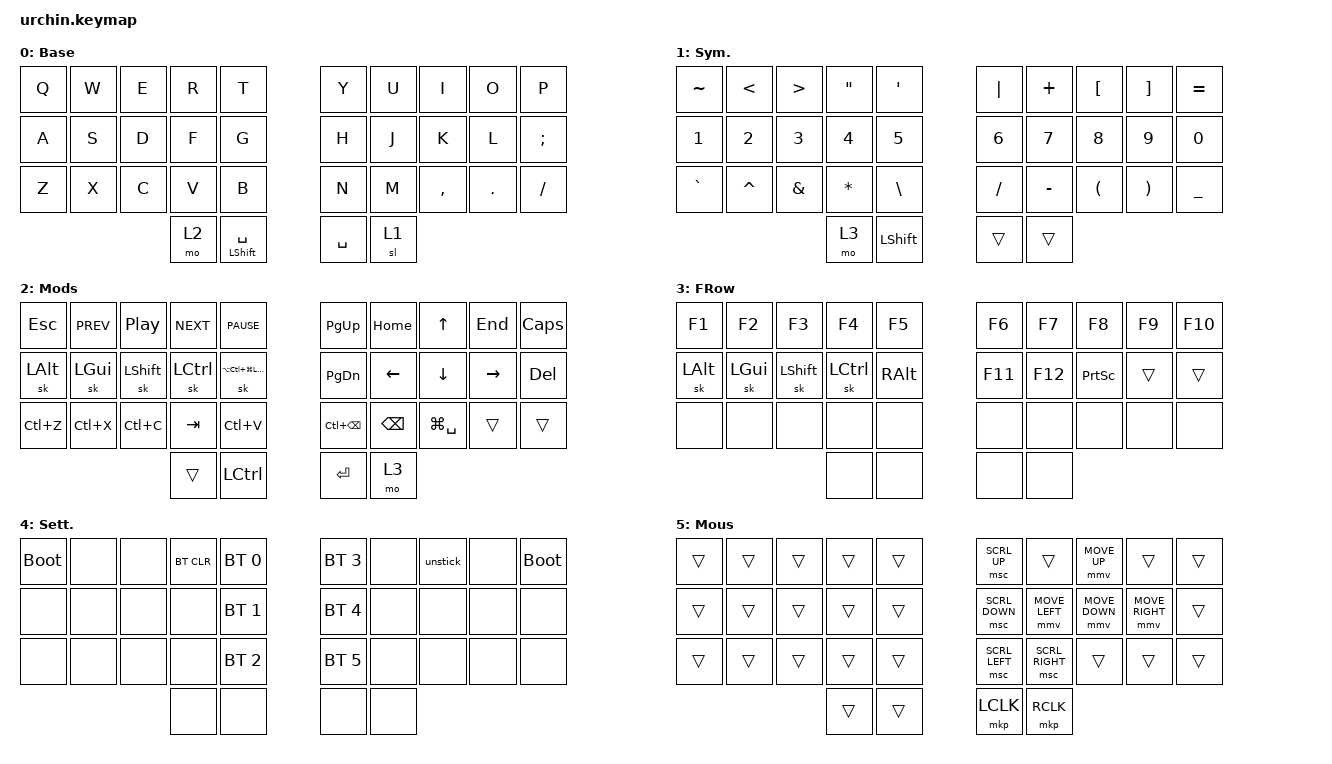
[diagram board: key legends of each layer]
/*
 * Copyright (c) 2020 duckyb
 *
 * SPDX-License-Identifier: MIT
 */

#include <behaviors.dtsi>
#include <dt-bindings/zmk/bt.h>
#include <dt-bindings/zmk/keys.h>
#include <dt-bindings/zmk/pointing.h>

// Layer definitions

#define BASE 0
#define SYM 1
#define EXT 2
#define FNC 3
#define SETTINGS 4
#define MOUSE 5

// -----------------

&sk {
    // don't release mods on other mods presses
    ignore-modifiers;

    // 2 s before a sticky modifier times out — gives time to peek
    // at the F+J manual overlay before picking an action letter.
    release-after-ms = <2000>;
};

/ {
    behaviors {
        // Enables holding the first mod-tap key
        // by performing a tap-release-hold sequence.
        // To use it: "&qt KEYCODE1 KEYCODE2"

        qt: quick_tap {
            compatible = "zmk,behavior-hold-tap";
            label = "QUICK_TAP";
            #binding-cells = <2>;
            flavor = "hold-preferred";
            tapping-term-ms = <200>;
            quick-tap-ms = <200>;
            bindings = <&kp>, <&kp>;
        };
    };

    macros {
        // sometimes my device thinks a modifier is being held down
        // pressing all modifiers fixes it.

        unstick: unstick {
            label = "ZM_unstick";
            compatible = "zmk,behavior-macro";
            #binding-cells = <0>;
            bindings = <&kp LSHIFT &kp RSHIFT &kp LCTRL &kp RCTRL &kp LALT &kp RALT &kp LGUI &kp RGUI>;
        };

    };

    combos {
        compatible = "zmk,combos";

        // both right thumb keys
        // combo_accent {
        //	timeout-ms = <200>;
        //	key-positions = <32 33>;
        //	bindings = <&mo ACCENT>;
        // };
        // internal-left & external-right thumb keys
        // combo_sym2 {
        //     timeout-ms = <200>;
        //     key-positions = <31 33>;
        //     bindings = <&mo 0>;
        // };
        // both left thumb keys

        combo_settings {
            timeout-ms = <200>;
            key-positions = <30 31>;
            bindings = <&mo SETTINGS>;
        };

        // left index & middle fingers (home-row)
        // hold control & space for Adobe workflow

        combo_alt_space {
            timeout-ms = <200>;
            key-positions = <12 13>;
            bindings = <&kp LA(SPACE)>;
            layers = <0>;
        };

        // J+K (right hand index + middle, home row) -> Win+Shift+S
        // Opens the Windows Snipping Tool selection. Tight timeout
        // so normal typing doesn't misfire.

        combo_screenshot {
            timeout-ms = <35>;
            key-positions = <16 17>;
            bindings = <&kp LG(LS(S))>;
            layers = <0>;
        };

        // X+C (left ring + middle, bottom row) toggles the MOUSE layer.
        // Works from BASE (to enter) and from MOUSE (to exit).

        combo_mouse {
            timeout-ms = <50>;
            key-positions = <21 22>;
            bindings = <&tog MOUSE>;
            layers = <BASE MOUSE>;
        };

        // F+J (both index fingers, home row) -> sticky Meh modifier
        // (Ctrl+Alt+Shift, no Win). Tap once, then a letter, and the
        // AutoHotkey script on the host catches Meh+letter to launch
        // apps and snap windows. Win is deliberately excluded — the
        // bare Win-tap from sticky timeout would otherwise trigger
        // Start menu / Copilot on this Windows build.

        combo_hyper {
            timeout-ms = <40>;
            key-positions = <13 16>;
            bindings = <&sk LC(LA(LSHIFT))>;
            layers = <BASE>;
        };
    };

    keymap {
        compatible = "zmk,keymap";

        // Base alpha layer

        default_layer {
            label = "Base";
            bindings = <
&kp Q  &kp W             &kp E  &kp R  &kp T    &kp Y  &kp U  &kp I      &kp O      &kp P
&kp A  &kp S             &kp D  &kp F  &kp G    &kp H  &kp J  &kp K      &kp L      &kp SEMICOLON
&kp Z  &kp X             &kp C  &kp V  &kp B    &kp N  &kp M  &kp COMMA  &kp DOT    &kp SLASH
&mo 2  &qt LSHIFT SPACE                                                  &kp SPACE  &sl 1
            >;
        };

        // Numbers and high frequency symbols

        sym_layer {
            label = "Sym.";
            // Miryoku-style: vertical-column brackets on right hand
            // (opens on top row, closes on bottom). Numbers row kept.
            // Shifted versions of row 2 still give ! @ # $ % ^ & * ( )
            // when LSHIFT (left thumb here) is held — no need to dedicate slots.
            bindings = <
&kp TILDE     &kp LESS_THAN  &kp GREATER_THAN  &kp DOUBLE_QUOTES  &kp SQT          &kp PIPE   &kp PLUS    &kp LBKT  &kp RBKT  &kp EQUAL
&kp NUMBER_1  &kp NUMBER_2   &kp NUMBER_3      &kp NUMBER_4       &kp NUMBER_5     &kp N6     &kp N7      &kp N8    &kp N9    &kp N0
&kp GRAVE     &kp CARET      &kp AMPERSAND     &kp ASTERISK       &kp BSLH         &kp FSLH   &kp MINUS   &kp LPAR  &kp RPAR  &kp UNDER
&mo 3         &kp LSHIFT                                                                                            &trans    &trans
            >;
        };

        // Main modifiers and arrow keys

        ext_layer {
            label = "Mods";
            bindings = <
&kp ESC    &kp C_PREV  &kp C_PP    &kp C_NEXT  &kp C_PAUSE                   &kp PG_UP     &kp HOME  &kp UP         &kp END    &kp CAPS
&sk LALT   &sk LGUI    &sk LSHIFT  &sk LCTRL   &sk LA(LC(LG(LEFT_SHIFT)))    &kp PG_DN     &kp LEFT  &kp DOWN       &kp RIGHT  &kp DEL
&kp LC(Z)  &kp LC(X)   &kp LC(C)   &kp TAB     &kp LC(V)                     &kp LC(BSPC)  &kp BSPC  &kp LG(SPACE)  &trans     &trans
&trans     &kp LCTRL                                                                                                &kp ENTER  &mo 3
            >;
        };

        // Function keys with modifiers

        fnc_layer {
            label = "FRow";
            bindings = <
&kp F1    &kp F2    &kp F3      &kp F4     &kp F5      &kp F6   &kp F7   &kp F8           &kp F9  &kp F10
&sk LALT  &sk LGUI  &sk LSHIFT  &sk LCTRL  &kp RALT    &kp F11  &kp F12  &kp PRINTSCREEN  &trans  &trans
&none     &none     &none       &none      &none       &none    &none    &none            &none   &none
&none     &none                                                                           &none   &none
            >;
        };

        // NOTE: layer node order MUST match the #define indices above.
        // The order here is BASE, SYM, EXT, FNC, SETTINGS (4), MOUSE (5).
        // Window-snap actions are handled host-side by AHK via Meh+letter
        // (see tools/urchin-apps.ahk), no dedicated layer needed.

        // Used to change the keyboard's settings.

        settings_layer {
            label = "Sett.";
            bindings = <
&bootloader  &none  &none  &bt BT_CLR  &bt BT_SEL 0    &bt BT_SEL 3  &none  &unstick  &none  &bootloader
&none        &none  &none  &none       &bt BT_SEL 1    &bt BT_SEL 4  &none  &none     &none  &none
&none        &none  &none  &none       &bt BT_SEL 2    &bt BT_SEL 5  &none  &none     &none  &none
&none        &none                                                                    &none  &none
            >;
        };

        // Mouse control — toggled on/off via X+C combo.
        // Right hand: cursor (HJKL pattern with up on I), scroll on H column.
        // Right thumbs: left and right click.

        mouse_layer {
            label = "Mous";
            bindings = <
&trans  &trans  &trans  &trans  &trans    &msc SCRL_UP    &trans          &mmv MOVE_UP    &trans           &trans
&trans  &trans  &trans  &trans  &trans    &msc SCRL_DOWN  &mmv MOVE_LEFT  &mmv MOVE_DOWN  &mmv MOVE_RIGHT  &trans
&trans  &trans  &trans  &trans  &trans    &msc SCRL_LEFT  &msc SCRL_RIGHT &trans          &trans           &trans
&trans  &trans                                                                            &mkp LCLK        &mkp RCLK
            >;
        };
    };
};
